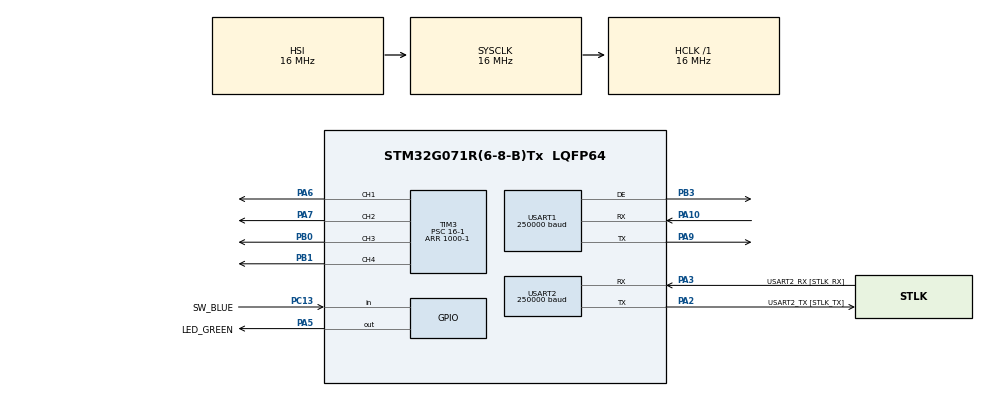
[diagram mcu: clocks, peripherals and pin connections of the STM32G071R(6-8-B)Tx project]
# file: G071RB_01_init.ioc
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Mcu.Family=STM32G0
Mcu.Name=STM32G071R(6-8-B)Tx
Mcu.Package=LQFP64
PA10.Mode=Asynchronous
PA10.Signal=USART1_RX
PA13.GPIO_Label=TMS
PA13.Mode=Serial_Wire
PA13.Signal=SYS_SWDIO
PA14-BOOT0.GPIO_Label=TCK
PA14-BOOT0.Mode=Serial_Wire
PA14-BOOT0.Signal=SYS_SWCLK
PA2.GPIO_Label=USART2_TX [STLK_TX]
PA2.GPIO_PuPd=GPIO_PULLUP
PA2.Mode=Asynchronous
PA2.Signal=USART2_TX
PA3.GPIO_Label=USART2_RX [STLK_RX]
PA3.GPIO_PuPd=GPIO_PULLUP
PA3.Mode=Asynchronous
PA3.Signal=USART2_RX
PA5.GPIO_Label=LED_GREEN
PA5.GPIO_Speed=GPIO_SPEED_FREQ_HIGH
PA5.Signal=GPIO_Output
PA6.Signal=S_TIM3_CH1
PA7.Signal=S_TIM3_CH2
PA9.Mode=Asynchronous
PA9.Signal=USART1_TX
PB0.Signal=S_TIM3_CH3
PB1.Signal=S_TIM3_CH4
PB3.Mode=Hardware Flow Control (RS485)
PB3.Signal=USART1_DE
PC13.GPIO_Label=SW_BLUE
PC13.Signal=GPIO_Input
PC14-OSC32_IN\ (PC14).Mode=LSE-External-Oscillator
PC14-OSC32_IN\ (PC14).Signal=RCC_OSC32_IN
PC15-OSC32_OUT\ (PC15).Mode=LSE-External-Oscillator
PC15-OSC32_OUT\ (PC15).Signal=RCC_OSC32_OUT
PF0-OSC_IN\ (PF0).GPIO_Label=MCO
PF0-OSC_IN\ (PF0).Mode=HSE-External-Clock-Source
PF0-OSC_IN\ (PF0).Signal=RCC_OSC_IN
ProjectManager.HeapSize=0x200
ProjectManager.StackSize=0x400
ProjectManager.TargetToolchain=STM32CubeIDE
RCC.AHBFreq_Value=16000000
RCC.CortexFreq_Value=16000000
RCC.EXTERNAL_CLOCK_VALUE=12288000
RCC.HCLKFreq_Value=16000000
RCC.HSE_VALUE=8000000
RCC.HSI_VALUE=16000000
RCC.SYSCLKFreq_VALUE=16000000
RCC.VCOOutputFreq_Value=128000000
SH.S_TIM3_CH1.0=TIM3_CH1,PWM Generation1 CH1
SH.S_TIM3_CH2.0=TIM3_CH2,PWM Generation2 CH2
SH.S_TIM3_CH3.0=TIM3_CH3,PWM Generation3 CH3
SH.S_TIM3_CH4.0=TIM3_CH4,PWM Generation4 CH4
TIM3.Channel-PWM\ Generation1\ CH1=TIM_CHANNEL_1
TIM3.Channel-PWM\ Generation2\ CH2=TIM_CHANNEL_2
TIM3.Channel-PWM\ Generation3\ CH3=TIM_CHANNEL_3
TIM3.Channel-PWM\ Generation4\ CH4=TIM_CHANNEL_4
TIM3.Period=1000-1
TIM3.Prescaler=16-1
USART1.BaudRate=250000
USART1.VirtualMode-Asynchronous=VM_ASYNC
USART1.VirtualMode-Hardware\ Flow\ Control\ (RS485)=VM_ASYNC
USART2.BaudRate=250000
USART2.VirtualMode-Asynchronous=VM_ASYNC
VP_SYS_VS_DBSignals.Mode=DisableDeadBatterySignals
VP_TIM3_VS_ClockSourceINT.Mode=Internal
board=NUCLEO-G071RB

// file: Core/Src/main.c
/* USER CODE BEGIN Header */
/**
 ******************************************************************************
 * @file           : main.c
 * @brief          : Main program body
 ******************************************************************************
 * @attention
 *
 * Copyright (c) 2024 STMicroelectronics.
 * All rights reserved.
 *
 * This software is licensed under terms that can be found in the LICENSE file
 * in the root directory of this software component.
 * If no LICENSE file comes with this software, it is provided AS-IS.
 *
 ******************************************************************************
 */
/* USER CODE END Header  */
//#include <cstdio>
#include "main.h"

/* USER CODE BEGIN Includes */
#include "dbg.h"

/* USER CODE END Includes */

TIM_HandleTypeDef htim3;

UART_HandleTypeDef huart1;
UART_HandleTypeDef huart2;

/* USER CODE BEGIN PV */
uint16_t pwmR, pwmG, pwmB, pwmW;
int8_t stepR, stepG = 20, stepB = -40, stepW = 5;

/* USER CODE END PV */

void SystemClock_Config(void);
static void MX_GPIO_Init(void);
static void MX_USART2_UART_Init(void);
static void MX_TIM3_Init(void);
static void MX_USART1_UART_Init(void);
/* USER CODE BEGIN PFP */

#ifdef __GNUC__
/* With GCC/RAISONANCE, small printf (option LD Linker->Libraries->Small printf
 set to 'Yes') calls __io_putchar() */
#define PUTCHAR_PROTOTYPE int __io_putchar(int ch)
#else
#define PUTCHAR_PROTOTYPE int fputc(int ch, FILE *f)
#endif /* __GNUC__ */

/* USER CODE END PFP */

/* USER CODE BEGIN 0 */
/*
int _write(int file, char *ptr, int len) {
	HAL_UART_Transmit(&huart2, (uint8_t*) ptr, len, HAL_MAX_DELAY);
	return len;
}
*/
PUTCHAR_PROTOTYPE
{
  /* Place your implementation of fputc here */
  /* e.g. write a character to the USART1 and Loop until the end of transmission */
  HAL_UART_Transmit(&huart2, (uint8_t *)&ch, 1, 0xFFFF);

  return ch;
}

/* USER CODE END 0 */

int main(void) {

	/* MCU Configuration--------------------------------------------------------*/

	/* Reset of all peripherals, Initializes the Flash interface and the Systick. */
	HAL_Init();

	/* Configure the system clock */
	SystemClock_Config();

	/* Initialize all configured peripherals */
	MX_GPIO_Init();
	MX_USART2_UART_Init();
	MX_TIM3_Init();
	MX_USART1_UART_Init();
	/* USER CODE BEGIN 2 */
	pwmR = 0;
	pwmG = 580;
	pwmB = 900;
	pwmW = 0;

	TIM3->CCR1 = pwmR;
	TIM3->CCR2 = pwmG;
	TIM3->CCR3 = pwmB;
	TIM3->CCR4 = pwmW;
	HAL_TIM_PWM_Start(&htim3, TIM_CHANNEL_1); //coment test
	HAL_TIM_PWM_Start(&htim3, TIM_CHANNEL_2);
	HAL_TIM_PWM_Start(&htim3, TIM_CHANNEL_3);
	HAL_TIM_PWM_Start(&htim3, TIM_CHANNEL_4);

	//HAL_GPIO_WritePin(LED_GREEN_GPIO_Port,LED_GREEN_Pin,GPIO_PIN_SET);

	printf("\r\nSTM32G071RB PWM printf\r\n");
	printf("\r\n16MHz internal clock\r\n");
	printf("UART1 250kbps RS485\r\n");
	printf("UART2 250kbps VCP debug port\r\n");
	printf("TIM3 4xPWM@1kHz CH1-PB4, CH2-PA7, CH3-PB0 ,CH4-PB1\r\n");

	dbg_test();

	/* USER CODE END 2 */

	/* Infinite loop */
	/* USER CODE BEGIN WHILE */
	while (1) {
		//HAL_GPIO_TogglePin(LED_GREEN_GPIO_Port, LED_GREEN_Pin);
		//HAL_Delay(500);

		if (pwmR == 0)     stepR = 10;
		if (pwmR == 1000)  stepR = -10;
		pwmR += stepR;

		if (pwmG == 0)     stepG = 20;
		if (pwmG == 1000)  stepG = -20;
		pwmG += stepG;

		if (pwmB == 0)     stepB = 40;
		if (pwmB == 1000)  stepB = -40;
		pwmB += stepB;

		if (pwmW == 0)     stepW = 5;
		if (pwmW == 1000)  stepW = -5;
		pwmW += stepW;

		TIM3->CCR1 = pwmR;
		TIM3->CCR2 = pwmG;
		TIM3->CCR3 = pwmB;
		TIM3->CCR4 = pwmW;
		HAL_Delay(9);

		/* USER CODE END WHILE */

	}
}

void SystemClock_Config(void) {
	RCC_OscInitTypeDef RCC_OscInitStruct = { 0 };
	RCC_ClkInitTypeDef RCC_ClkInitStruct = { 0 };

	/** Configure the main internal regulator output voltage
	 */
	HAL_PWREx_ControlVoltageScaling(PWR_REGULATOR_VOLTAGE_SCALE1);

	/** Initializes the RCC Oscillators according to the specified parameters
	 * in the RCC_OscInitTypeDef structure.
	 */
	RCC_OscInitStruct.OscillatorType = RCC_OSCILLATORTYPE_HSI;
	RCC_OscInitStruct.HSIState = RCC_HSI_ON;
	RCC_OscInitStruct.HSIDiv = RCC_HSI_DIV1;
	RCC_OscInitStruct.HSICalibrationValue = RCC_HSICALIBRATION_DEFAULT;
	RCC_OscInitStruct.PLL.PLLState = RCC_PLL_NONE;
	if (HAL_RCC_OscConfig(&RCC_OscInitStruct) != HAL_OK) {
		Error_Handler();
	}

	/** Initializes the CPU, AHB and APB buses clocks
	 */
	RCC_ClkInitStruct.ClockType = RCC_CLOCKTYPE_HCLK | RCC_CLOCKTYPE_SYSCLK
			| RCC_CLOCKTYPE_PCLK1;
	RCC_ClkInitStruct.SYSCLKSource = RCC_SYSCLKSOURCE_HSI;
	RCC_ClkInitStruct.AHBCLKDivider = RCC_SYSCLK_DIV1;
	RCC_ClkInitStruct.APB1CLKDivider = RCC_HCLK_DIV1;

	if (HAL_RCC_ClockConfig(&RCC_ClkInitStruct, FLASH_LATENCY_0) != HAL_OK) {
		Error_Handler();
	}
}

static void MX_TIM3_Init(void) {

	TIM_ClockConfigTypeDef sClockSourceConfig = { 0 };
	TIM_MasterConfigTypeDef sMasterConfig = { 0 };
	TIM_OC_InitTypeDef sConfigOC = { 0 };

	htim3.Instance = TIM3;
	htim3.Init.Prescaler = 16 - 1;
	htim3.Init.CounterMode = TIM_COUNTERMODE_UP;
	htim3.Init.Period = 1000 - 1;
	htim3.Init.ClockDivision = TIM_CLOCKDIVISION_DIV1;
	htim3.Init.AutoReloadPreload = TIM_AUTORELOAD_PRELOAD_DISABLE;
	if (HAL_TIM_Base_Init(&htim3) != HAL_OK) {
		Error_Handler();
	}
	sClockSourceConfig.ClockSource = TIM_CLOCKSOURCE_INTERNAL;
	if (HAL_TIM_ConfigClockSource(&htim3, &sClockSourceConfig) != HAL_OK) {
		Error_Handler();
	}
	if (HAL_TIM_PWM_Init(&htim3) != HAL_OK) {
		Error_Handler();
	}
	sMasterConfig.MasterOutputTrigger = TIM_TRGO_RESET;
	sMasterConfig.MasterSlaveMode = TIM_MASTERSLAVEMODE_DISABLE;
	if (HAL_TIMEx_MasterConfigSynchronization(&htim3, &sMasterConfig)
			!= HAL_OK) {
		Error_Handler();
	}
	sConfigOC.OCMode = TIM_OCMODE_PWM1;
	sConfigOC.Pulse = 0;
	sConfigOC.OCPolarity = TIM_OCPOLARITY_HIGH;
	sConfigOC.OCFastMode = TIM_OCFAST_DISABLE;
	if (HAL_TIM_PWM_ConfigChannel(&htim3, &sConfigOC, TIM_CHANNEL_1)
			!= HAL_OK) {
		Error_Handler();
	}
	if (HAL_TIM_PWM_ConfigChannel(&htim3, &sConfigOC, TIM_CHANNEL_2)
			!= HAL_OK) {
		Error_Handler();
	}
	if (HAL_TIM_PWM_ConfigChannel(&htim3, &sConfigOC, TIM_CHANNEL_3)
			!= HAL_OK) {
		Error_Handler();
	}
	if (HAL_TIM_PWM_ConfigChannel(&htim3, &sConfigOC, TIM_CHANNEL_4)
			!= HAL_OK) {
		Error_Handler();
	}
	HAL_TIM_MspPostInit(&htim3);

}

static void MX_USART1_UART_Init(void) {

	huart1.Instance = USART1;
	huart1.Init.BaudRate = 250000;
	huart1.Init.WordLength = UART_WORDLENGTH_8B;
	huart1.Init.StopBits = UART_STOPBITS_1;
	huart1.Init.Parity = UART_PARITY_NONE;
	huart1.Init.Mode = UART_MODE_TX_RX;
	huart1.Init.HwFlowCtl = UART_HWCONTROL_NONE;
	huart1.Init.OverSampling = UART_OVERSAMPLING_16;
	huart1.Init.OneBitSampling = UART_ONE_BIT_SAMPLE_DISABLE;
	huart1.Init.ClockPrescaler = UART_PRESCALER_DIV1;
	huart1.AdvancedInit.AdvFeatureInit = UART_ADVFEATURE_NO_INIT;
	if (HAL_RS485Ex_Init(&huart1, UART_DE_POLARITY_HIGH, 0, 0) != HAL_OK) {
		Error_Handler();
	}
	if (HAL_UARTEx_SetTxFifoThreshold(&huart1, UART_TXFIFO_THRESHOLD_1_8)
			!= HAL_OK) {
		Error_Handler();
	}
	if (HAL_UARTEx_SetRxFifoThreshold(&huart1, UART_RXFIFO_THRESHOLD_1_8)
			!= HAL_OK) {
		Error_Handler();
	}
	if (HAL_UARTEx_DisableFifoMode(&huart1) != HAL_OK) {
		Error_Handler();
	}

}

static void MX_USART2_UART_Init(void) {

	huart2.Instance = USART2;
	huart2.Init.BaudRate = 250000;
	huart2.Init.WordLength = UART_WORDLENGTH_8B;
	huart2.Init.StopBits = UART_STOPBITS_1;
	huart2.Init.Parity = UART_PARITY_NONE;
	huart2.Init.Mode = UART_MODE_TX_RX;
	huart2.Init.HwFlowCtl = UART_HWCONTROL_NONE;
	huart2.Init.OverSampling = UART_OVERSAMPLING_16;
	huart2.Init.OneBitSampling = UART_ONE_BIT_SAMPLE_DISABLE;
	huart2.Init.ClockPrescaler = UART_PRESCALER_DIV1;
	huart2.AdvancedInit.AdvFeatureInit = UART_ADVFEATURE_NO_INIT;
	if (HAL_UART_Init(&huart2) != HAL_OK) {
		Error_Handler();
	}
	if (HAL_UARTEx_SetTxFifoThreshold(&huart2, UART_TXFIFO_THRESHOLD_1_8)
			!= HAL_OK) {
		Error_Handler();
	}
	if (HAL_UARTEx_SetRxFifoThreshold(&huart2, UART_RXFIFO_THRESHOLD_1_8)
			!= HAL_OK) {
		Error_Handler();
	}
	if (HAL_UARTEx_DisableFifoMode(&huart2) != HAL_OK) {
		Error_Handler();
	}

}

static void MX_GPIO_Init(void) {
	GPIO_InitTypeDef GPIO_InitStruct = { 0 };

	/* GPIO Ports Clock Enable */
	__HAL_RCC_GPIOC_CLK_ENABLE();
	__HAL_RCC_GPIOF_CLK_ENABLE();
	__HAL_RCC_GPIOA_CLK_ENABLE();
	__HAL_RCC_GPIOB_CLK_ENABLE();

	/*Configure GPIO pin Output Level */
	HAL_GPIO_WritePin(LED_GREEN_GPIO_Port, LED_GREEN_Pin, GPIO_PIN_RESET);

	/*Configure GPIO pin : SW_BLUE_Pin */
	GPIO_InitStruct.Pin = SW_BLUE_Pin;
	GPIO_InitStruct.Mode = GPIO_MODE_INPUT;
	GPIO_InitStruct.Pull = GPIO_NOPULL;
	HAL_GPIO_Init(SW_BLUE_GPIO_Port, &GPIO_InitStruct);

	/*Configure GPIO pin : LED_GREEN_Pin */
	GPIO_InitStruct.Pin = LED_GREEN_Pin;
	GPIO_InitStruct.Mode = GPIO_MODE_OUTPUT_PP;
	GPIO_InitStruct.Pull = GPIO_NOPULL;
	GPIO_InitStruct.Speed = GPIO_SPEED_FREQ_HIGH;
	HAL_GPIO_Init(LED_GREEN_GPIO_Port, &GPIO_InitStruct);

}

void Error_Handler(void) {
	__disable_irq();
	while (1) {
	}
}
